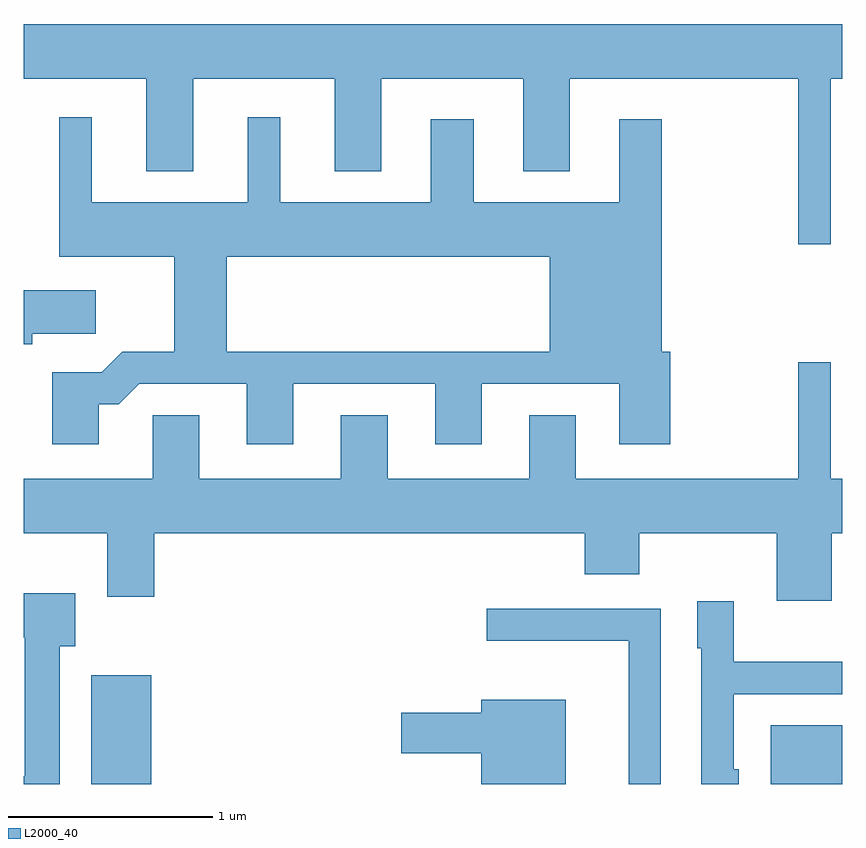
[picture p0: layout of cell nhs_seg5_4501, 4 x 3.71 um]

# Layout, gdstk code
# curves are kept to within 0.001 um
import gdstk
lib = gdstk.Library(unit=1e-6, precision=1e-09)
def R(c, l, rs):  # rectangles x0, y0, x1, y1
    for r in rs: c.add(gdstk.rectangle(r[:2], r[2:], *l))
def P(c, l, *ps):  # polygons
    for p in ps: c.add(gdstk.Polygon(p, *l))
L2000_40 = (2000, 40)

nhs_seg5_4501 = lib.new_cell('nhs_seg5_4501')
R(nhs_seg5_4501, L2000_40, [(319.941,1400.072,320.234,1400.604), (323.261,1400.072,323.611,1400.359)])
P(nhs_seg5_4501, L2000_40, [(323.554,1403.516),(323.611,1403.516),(323.611,1403.784),(319.611,1403.784),(319.611,1403.516),(320.211,1403.516),(320.211,1403.066),(320.439,1403.066),(320.439,1403.516),(321.131,1403.516),(321.131,1403.066),(321.359,1403.066),(321.359,1403.516),(322.051,1403.516),(322.051,1403.066),(322.279,1403.066),(322.279,1403.516),(323.396,1403.516),(323.396,1402.708),(323.554,1402.708)],
  [(319.979,1401.926),(320.077,1401.926),(320.177,1402.026),(320.701,1402.026),(320.701,1401.731),(320.929,1401.731),(320.929,1402.026),(321.621,1402.026),(321.621,1401.731),(321.849,1401.731),(321.849,1402.026),(322.521,1402.026),(322.521,1401.731),(322.769,1401.731),(322.769,1402.184),(322.729,1402.184),(322.729,1403.319),(322.521,1403.319),(322.521,1402.914),(321.809,1402.914),(321.809,1403.319),(321.601,1403.319),(321.601,1402.914),(320.864,1402.914),(320.864,1403.328),(320.706,1403.328),(320.706,1402.914),(319.944,1402.914),(319.944,1403.328),(319.786,1403.328),(319.786,1402.646),(320.346,1402.646),(320.346,1402.184),(320.604,1402.184),(320.604,1402.646),(322.181,1402.646),(322.181,1402.184),(320.094,1402.184),(319.994,1402.084),(319.751,1402.084),(319.751,1401.731),(319.979,1401.731)],
  [(319.654,1402.271),(319.964,1402.271),(319.964,1402.484),(319.611,1402.484),(319.611,1402.221),(319.654,1402.221)],
  [(323.559,1401.296),(323.611,1401.296),(323.611,1401.564),(323.554,1401.564),(323.554,1402.133),(323.396,1402.133),(323.396,1401.564),(322.309,1401.564),(322.309,1401.874),(322.081,1401.874),(322.081,1401.564),(321.389,1401.564),(321.389,1401.874),(321.161,1401.874),(321.161,1401.564),(320.469,1401.564),(320.469,1401.874),(320.241,1401.874),(320.241,1401.564),(319.611,1401.564),(319.611,1401.296),(320.021,1401.296),(320.021,1400.986),(320.249,1400.986),(320.249,1401.296),(322.351,1401.296),(322.351,1401.096),(322.619,1401.096),(322.619,1401.296),(323.291,1401.296),(323.291,1400.966),(323.559,1400.966)],
  [(319.789,1400.746),(319.864,1400.746),(319.864,1401.004),(319.611,1401.004),(319.611,1400.786),(319.616,1400.786),(319.616,1400.109),(319.611,1400.109),(319.611,1400.072),(319.789,1400.072)],
  [(323.104,1400.144),(323.079,1400.144),(323.079,1400.511),(323.611,1400.511),(323.611,1400.669),(323.079,1400.669),(323.079,1400.964),(322.901,1400.964),(322.901,1400.736),(322.921,1400.736),(322.921,1400.072),(323.104,1400.072)],
  [(322.724,1400.929),(321.873,1400.929),(321.873,1400.771),(322.566,1400.771),(322.566,1400.072),(322.724,1400.072)],
  [(322.259,1400.484),(321.846,1400.484),(321.846,1400.419),(321.456,1400.419),(321.456,1400.221),(321.846,1400.221),(321.846,1400.072),(322.259,1400.072)])

lib.write_gds('nhs_seg5_4501.gds')
